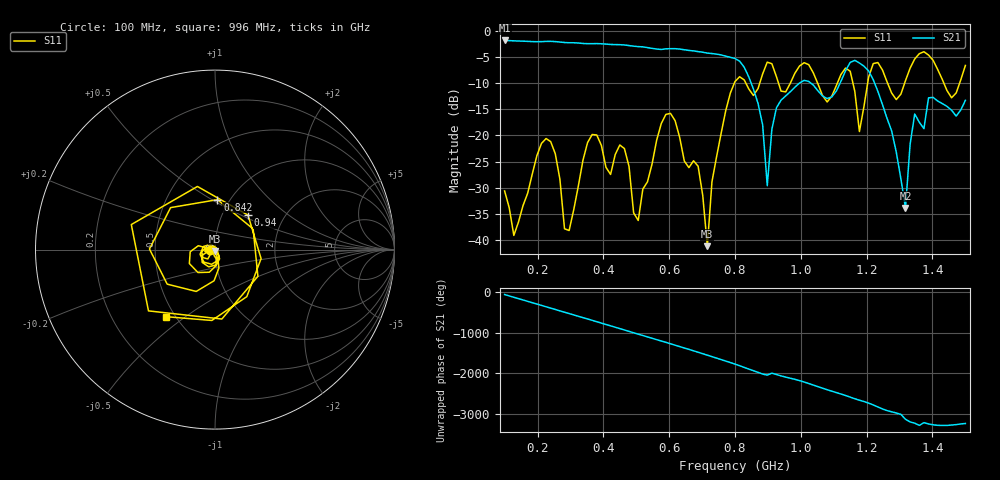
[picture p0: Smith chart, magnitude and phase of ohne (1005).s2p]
! NanoVNA-App
! Date: 2025-09-25 14:28:37
! Start: 100MHz Stop: 1,5GHz Points: 101
! S-Parameter data: F S11 S21 S12 S22
# Hz S RI R 50
!  Frequency  S11_Real  S11_Imag  S21_Real  S21_Imag  S12_Real  S12_Imag  S22_Real  S22_Imag
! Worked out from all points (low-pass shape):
!   101 points, 100 MHz to 1.5 GHz, reference 50 ohm
!   highest |S21| = -1.79 dB at 100 MHz (marker M1); lowest = -33.9 dB at 1.318 GHz (marker M2)
!   |S21| within 3 dB of the highest: start of sweep to 771.5 MHz
!   lowest |S11| = -41.2 dB at 716 MHz (marker M3), VSWR 1.02, Z = 49.7 - j0.829 ohm
!   |S11| at or under -10 dB: start of sweep to 797.9 MHz; 833.2 MHz to 875 MHz (41.88 MHz wide, 4.9 % of centre); 1.051 GHz to 1.111 GHz (59.63 MHz wide, 5.52 % of centre) (the widest 3 of 7)
!   S12 and S22 are empty: the file has one direction only
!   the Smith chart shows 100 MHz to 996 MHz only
!   S11 on the Smith chart (normalised r, x): 100 MHz: 0.94, -0.01; 842 MHz: 0.88, +0.53; 940 MHz: 1.32, +0.55; 996 MHz: 0.45, -0.42
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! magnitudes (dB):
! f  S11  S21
! 100 MHz  -30.6  -1.8
! 128 MHz  -39.2  -1.9
! 226 MHz  -20.6  -2.0
! 296 MHz  -38.2  -2.2
! 338 MHz  -24.8  -2.4
! 464 MHz  -22.5  -2.7
! 506 MHz  -36.3  -3.0
! 576 MHz  -17.7  -3.5
! 688 MHz  -25.9  -3.9
! 716 MHz  -41.2  -4.2
! 800 MHz  -9.7  -5.3
! 842 MHz  -11.1  -8.8
! 898 MHz  -6.0  -29.6
! 940 MHz  -11.5  -13.2
! 996 MHz  -6.7  -10.0
! 1.038 GHz  -8.0  -10.4
! 1.178 GHz  -19.3  -6.1
! 1.22 GHz  -6.2  -9.3
! 1.276 GHz  -11.9  -19.1
! 1.318 GHz  -9.5  -33.9
! 1.346 GHz  -5.4  -15.9
! 1.5 GHz  -6.6  -13.3
